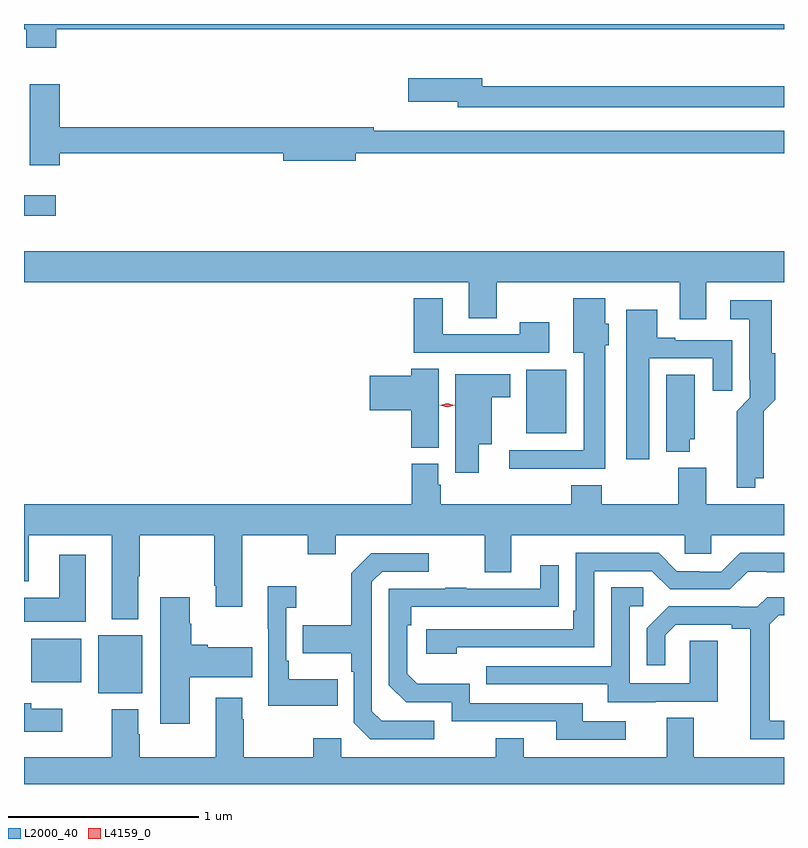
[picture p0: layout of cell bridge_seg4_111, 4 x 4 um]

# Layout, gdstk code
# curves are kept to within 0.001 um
import gdstk
lib = gdstk.Library(unit=1e-6, precision=1e-09)
def R(c, l, rs):  # rectangles x0, y0, x1, y1
    for r in rs: c.add(gdstk.rectangle(r[:2], r[2:], *l))
def P(c, l, *ps):  # polygons
    for p in ps: c.add(gdstk.Polygon(p, *l))
L2000_40 = (2000, 40)
L4159_0 = (4159, 0)

bridge_seg4_111 = lib.new_cell('bridge_seg4_111')
R(bridge_seg4_111, L2000_40, [(541.991,750.701,542.224,751.006), (541.64,750.758,541.903,750.988), (544.244,752.069,544.456,752.404), (541.601,753.215,541.768,753.322)])
P(bridge_seg4_111, L2000_40, [(545.601,754.223),(541.601,754.223),(541.601,754.196),(541.612,754.196),(541.612,754.097),(541.772,754.097),(541.772,754.196),(545.601,754.196)],
  [(545.601,753.895),(544.012,753.895),(544.012,753.937),(543.624,753.937),(543.624,753.815),(543.884,753.815),(543.884,753.786),(545.601,753.786)],
  [(541.79,753.544),(542.966,753.544),(542.966,753.502),(543.346,753.502),(543.346,753.544),(545.601,753.544),(545.601,753.66),(543.788,753.66),(543.788,753.661),(543.442,753.661),(543.442,753.68),(541.79,753.68),(541.79,753.907),(541.631,753.907),(541.631,753.48),(541.79,753.48)],
  [(545.191,752.864),(545.601,752.864),(545.601,753.028),(541.601,753.028),(541.601,752.864),(543.941,752.864),(543.941,752.674),(544.089,752.674),(544.089,752.864),(545.051,752.864),(545.051,752.67),(545.191,752.67)],
  [(544.66,752.532),(544.678,752.532),(544.678,752.646),(544.66,752.646),(544.66,752.779),(544.493,752.779),(544.493,752.492),(544.547,752.492),(544.547,751.98),(544.155,751.98),(544.155,751.883),(544.66,751.883)],
  [(544.366,752.653),(544.21,752.653),(544.21,752.589),(543.805,752.589),(543.805,752.779),(543.653,752.779),(543.653,752.493),(544.366,752.493)],
  [(545.449,751.832),(545.494,751.832),(545.495,752.186),(545.554,752.245),(545.554,752.49),(545.536,752.49),(545.536,752.77),(545.319,752.77),(545.319,752.669),(545.417,752.669),(545.417,752.35),(545.421,752.35),(545.421,752.256),(545.351,752.186),(545.352,751.781),(545.449,751.781)],
  [(544.891,752.463),(545.225,752.463),(545.225,752.292),(545.329,752.292),(545.329,752.559),(545.029,752.559),(545.029,752.572),(544.933,752.572),(544.933,752.719),(544.772,752.719),(544.772,751.932),(544.891,751.932)],
  [(543.784,752.408),(543.638,752.408),(543.638,752.372),(543.42,752.372),(543.42,752.189),(543.638,752.189),(543.638,751.993),(543.784,751.993)],
  [(543.994,752.012),(544.063,752.012),(544.063,752.258),(544.159,752.258),(544.159,752.38),(543.872,752.38),(543.872,751.86),(543.994,751.86)],
  [(545.104,752.037),(545.131,752.037),(545.131,752.378),(544.982,752.378),(544.982,751.973),(545.104,751.973)],
  [(542.203,751.317),(542.211,751.317),(542.211,751.532),(542.602,751.532),(542.602,751.267),(542.609,751.267),(542.609,751.155),(542.749,751.155),(542.749,751.532),(543.094,751.532),(543.094,751.433),(543.241,751.433),(543.241,751.532),(544.025,751.532),(544.025,751.338),(544.165,751.338),(544.165,751.532),(545.079,751.532),(545.079,751.434),(545.217,751.434),(545.217,751.532),(545.601,751.532),(545.601,751.696),(545.191,751.696),(545.191,751.888),(545.044,751.888),(545.044,751.696),(544.641,751.696),(544.641,751.795),(544.481,751.795),(544.481,751.696),(543.794,751.696),(543.794,751.797),(543.781,751.797),(543.781,751.908),(543.641,751.908),(543.641,751.696),(541.601,751.696),(541.601,751.289),(541.627,751.289),(541.627,751.532),(542.063,751.532),(542.063,751.091),(542.203,751.091)],
  [(543.878,750.942),(544.602,750.942),(544.602,751.344),(544.905,751.344),(545.001,751.248),(545.316,751.248),(545.409,751.341),(545.509,751.341),(545.509,751.337),(545.601,751.337),(545.601,751.441),(545.371,751.441),(545.271,751.341),(545.156,751.341),(545.156,751.344),(545.037,751.344),(544.941,751.44),(544.506,751.44),(544.506,751.135),(544.493,751.135),(544.493,751.038),(543.717,751.038),(543.717,750.908),(543.878,750.908)],
  [(543.76,750.555),(543.483,750.555),(543.432,750.606),(543.432,751.287),(543.486,751.341),(543.73,751.341),(543.73,751.437),(543.429,751.437),(543.324,751.331),(543.324,751.059),(543.067,751.059),(543.067,750.911),(543.324,750.911),(543.324,750.815),(543.336,750.815),(543.336,750.546),(543.423,750.459),(543.76,750.459)],
  [(541.927,751.429),(541.787,751.429),(541.787,751.204),(541.601,751.204),(541.601,751.076),(541.927,751.076)],
  [(544.768,750.552),(544.543,750.552),(544.543,750.648),(543.948,750.648),(543.948,750.751),(543.671,750.751),(543.618,750.804),(543.618,751.058),(543.638,751.058),(543.638,751.155),(544.415,751.156),(544.415,751.375),(544.319,751.375),(544.319,751.251),(543.929,751.251),(543.929,751.256),(543.817,751.256),(543.817,751.251),(543.522,751.251),(543.522,750.744),(543.612,750.654),(543.852,750.654),(543.852,750.552),(544.403,750.552),(544.403,750.456),(544.768,750.456)],
  [(543.251,750.775),(542.995,750.775),(542.995,750.871),(542.982,750.871),(542.982,751.151),(543.034,751.151),(543.034,751.264),(542.885,751.264),(542.885,751.039),(542.886,751.039),(542.886,750.635),(543.251,750.635)],
  [(544.927,750.657),(545.251,750.657),(545.251,750.977),(545.106,750.977),(545.106,750.753),(544.788,750.753),(544.788,751.158),(544.861,751.158),(544.861,751.259),(544.692,751.259),(544.692,750.843),(544.033,750.843),(544.033,750.747),(544.673,750.747),(544.673,750.653),(544.927,750.653)],
  [(542.473,750.785),(542.801,750.785),(542.801,750.943),(542.569,750.943),(542.569,750.956),(542.481,750.956),(542.481,751.067),(542.473,751.067),(542.473,751.207),(542.318,751.207),(542.318,750.54),(542.473,750.54)],
  [(545.601,750.555),(545.527,750.555),(545.527,751.063),(545.574,751.11),(545.601,751.11),(545.601,751.207),(545.512,751.207),(545.46,751.155),(545.366,751.155),(545.366,751.158),(544.994,751.158),(544.878,751.042),(544.878,750.849),(544.975,750.849),(544.975,751.005),(545.032,751.062),(545.327,751.062),(545.327,751.04),(545.423,751.04),(545.423,750.459),(545.601,750.459)],
  [(545.601,750.364),(545.125,750.364),(545.125,750.572),(544.985,750.572),(544.985,750.364),(544.231,750.364),(544.231,750.463),(544.084,750.463),(544.084,750.364),(543.27,750.364),(543.27,750.463),(543.124,750.463),(543.124,750.364),(542.757,750.364),(542.757,750.563),(542.749,750.563),(542.749,750.676),(542.609,750.676),(542.609,750.364),(542.211,750.364),(542.211,750.485),(542.203,750.485),(542.203,750.616),(542.063,750.616),(542.063,750.364),(541.601,750.364),(541.601,750.223),(545.601,750.223)],
  [(541.801,750.619),(541.639,750.619),(541.639,750.649),(541.601,750.649),(541.601,750.497),(541.801,750.497)])
P(bridge_seg4_111, L4159_0, [(543.829,752.206),(543.79,752.216),(543.79,752.216),(543.79,752.216),(543.829,752.226),(543.867,752.216),(543.867,752.216),(543.867,752.216)])

lib.write_gds('bridge_seg4_111.gds')
